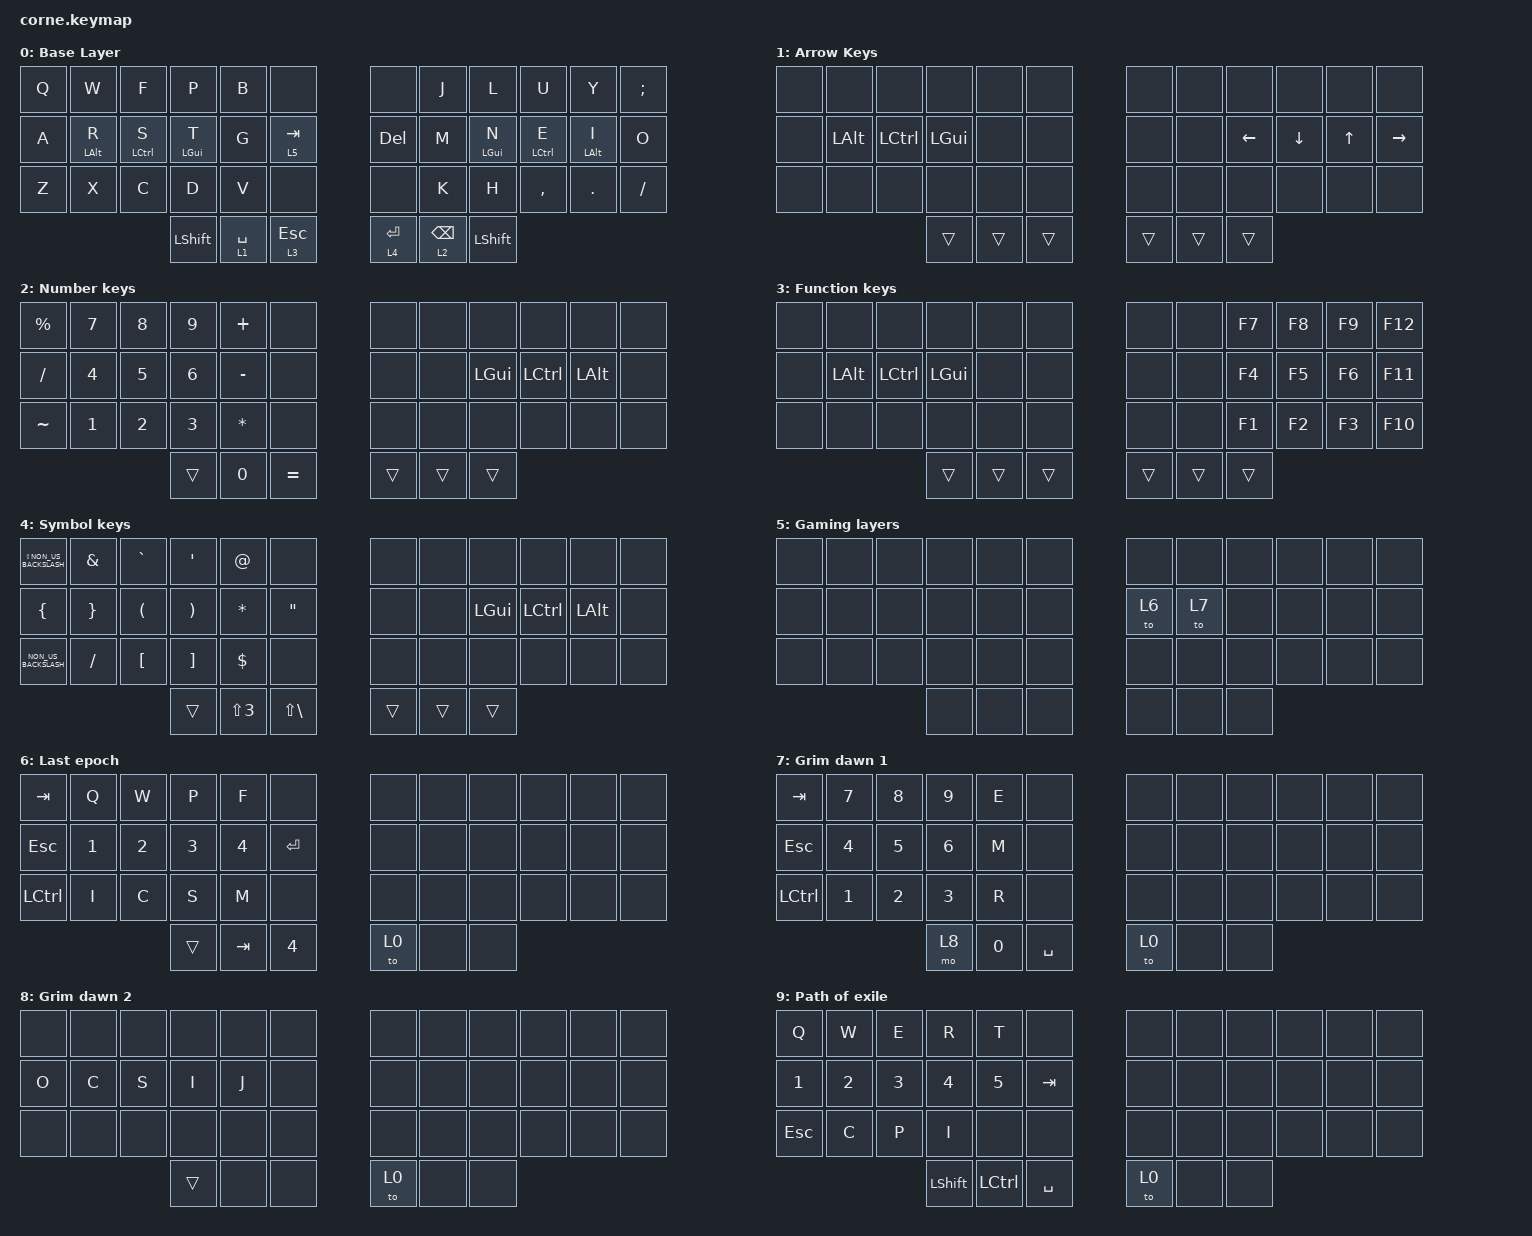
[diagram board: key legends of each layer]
/*
 * Copyright (c) 2020 The ZMK Contributors
 *
 * SPDX-License-Identifier: MIT
 */

#include <behaviors.dtsi>
#include <dt-bindings/zmk/keys.h>

&lt {
    tapping-term-ms = <200>;
};

&mt {
    tapping-term-ms = <200>;
    flavor = "tap-preferred";
};

/ {
    combos {
        compatible = "zmk,combos";
    };

    keymap {
        compatible = "zmk,keymap";

        base {
            // -----------------------------------------------------------------------------------------
            // |  TAB |  Q  |  W  |  E  |  R  |  T  |   |  Y  |  U   |  I  |  O  |  P  | BKSP |
            // | CTRL |  A  |  S  |  D  |  F  |  G  |   |  H  |  J   |  K  |  L  |  ;  |  '   |
            // | SHFT |  Z  |  X  |  C  |  V  |  B  |   |  N  |  M   |  ,  |  .  |  /  | ESC  |
            //                    | GUI | LWR | SPC |   | ENT | RSE  | ALT |

            bindings = <
&kp Q  &kp W           &kp F        &kp P           &kp B        &none           &none         &kp J            &kp L           &kp U        &kp Y           &kp SEMICOLON
&kp A  &mt LEFT_ALT R  &mt LCTRL S  &mt LGUI T      &kp G        &lt 5 TAB       &kp DELETE    &kp M            &mt LGUI N      &mt LCTRL E  &mt LEFT_ALT I  &kp O
&kp Z  &kp X           &kp C        &kp D           &kp V        &none           &none         &kp K            &kp H           &kp COMMA    &kp PERIOD      &kp SLASH
                                    &kp LEFT_SHIFT  &lt 1 SPACE  &lt 3 ESCAPE    &lt 4 RETURN  &lt 2 BACKSPACE  &kp LEFT_SHIFT
            >;

            label = "Base Layer";
        };

        arrows {
            // -----------------------------------------------------------------------------------------
            // |  TAB |  1  |  2  |  3  |  4  |  5  |   |  6  |  7  |  8  |  9  |  0  | BKSP |
            // | BTCLR| BT1 | BT2 | BT3 | BT4 | BT5 |   | LFT | DWN |  UP | RGT |     |      |
            // | SHFT |     |     |     |     |     |   |     |     |     |     |     |      |
            //                    | GUI |     | SPC |   | ENT |     | ALT |

            bindings = <
&none  &none         &none      &none     &none   &none     &none   &none   &none     &none     &none         &none
&none  &kp LEFT_ALT  &kp LCTRL  &kp LGUI  &none   &none     &none   &none   &kp LEFT  &kp DOWN  &kp UP_ARROW  &kp RIGHT
&none  &none         &none      &none     &none   &none     &none   &none   &none     &none     &none         &none
                                &trans    &trans  &trans    &trans  &trans  &trans
            >;

            label = "Arrow Keys";
        };

        num_keys {
            // -----------------------------------------------------------------------------------------
            // |  TAB |  !  |  @  |  #  |  $  |  %  |   |  ^  |  &  |  *  |  (  |  )  | BKSP |
            // | CTRL |     |     |     |     |     |   |  -  |  =  |  [  |  ]  |  \  |  `   |
            // | SHFT |     |     |     |     |     |   |  _  |  +  |  {  |  }  | "|" |  ~   |
            //                    | GUI |     | SPC |   | ENT |     | ALT |

            bindings = <
&kp PERCENT  &kp N7        &kp N8        &kp N9        &kp PLUS      &none        &none   &none   &none     &none      &none     &none
&kp SLASH    &kp NUMBER_4  &kp N5        &kp NUMBER_6  &kp MINUS     &none        &none   &none   &kp LGUI  &kp LCTRL  &kp LALT  &none
&kp TILDE    &kp NUMBER_1  &kp NUMBER_2  &kp NUMBER_3  &kp ASTERISK  &none        &none   &none   &none     &none      &none     &none
                                         &trans        &kp N0        &kp EQUAL    &trans  &trans  &trans
            >;

            label = "Number keys";
        };

        fn_keys {
            bindings = <
&none  &none     &none      &none     &none   &none     &none   &none   &kp F7  &kp F8  &kp F9  &kp F12
&none  &kp LALT  &kp LCTRL  &kp LGUI  &none   &none     &none   &none   &kp F4  &kp F5  &kp F6  &kp F11
&none  &none     &none      &none     &none   &none     &none   &none   &kp F1  &kp F2  &kp F3  &kp F10
                            &trans    &trans  &trans    &trans  &trans  &trans
            >;

            label = "Function keys";
        };

        symbol_keys {
            bindings = <
&kp LS(NON_US_BACKSLASH)  &kp AMPERSAND    &kp GRAVE             &kp SQT                &kp AT            &none                &none   &none   &none     &none      &none         &none
&kp LEFT_BRACE            &kp RIGHT_BRACE  &kp LEFT_PARENTHESIS  &kp RIGHT_PARENTHESIS  &kp ASTERISK      &kp DOUBLE_QUOTES    &none   &none   &kp LGUI  &kp LCTRL  &kp LEFT_ALT  &none
&kp NON_US_BACKSLASH      &kp SLASH        &kp LEFT_BRACKET      &kp RIGHT_BRACKET      &kp DOLLAR        &none                &none   &none   &none     &none      &none         &none
                                                                 &trans                 &kp LS(NUMBER_3)  &kp LS(BACKSLASH)    &trans  &trans  &trans
            >;

            label = "Symbol keys";
        };

        gaming_layers {
            bindings = <
&none  &none  &none  &none  &none  &none    &none  &none  &none  &none  &none  &none
&none  &none  &none  &none  &none  &none    &to 6  &to 7  &none  &none  &none  &none
&none  &none  &none  &none  &none  &none    &none  &none  &none  &none  &none  &none
                     &none  &none  &none    &none  &none  &none
            >;

            label = "Gaming layers";
        };

        last_epoch {
            bindings = <
&kp TAB     &kp Q         &kp W         &kp P         &kp F         &none           &none  &none  &none  &none  &none  &none
&kp ESCAPE  &kp NUMBER_1  &kp NUMBER_2  &kp NUMBER_3  &kp NUMBER_4  &kp RETURN      &none  &none  &none  &none  &none  &none
&kp LCTRL   &kp I         &kp C         &kp S         &kp M         &none           &none  &none  &none  &none  &none  &none
                                        &trans        &kp TAB       &kp NUMBER_4    &to 0  &none  &none
            >;

            label = "Last epoch";
        };

        grim_dawn_1 {
            bindings = <
&kp TAB     &kp N7        &kp N8        &kp N9        &kp E   &none        &none  &none  &none  &none  &none  &none
&kp ESCAPE  &kp NUMBER_4  &kp N5        &kp NUMBER_6  &kp M   &none        &none  &none  &none  &none  &none  &none
&kp LCTRL   &kp NUMBER_1  &kp NUMBER_2  &kp NUMBER_3  &kp R   &none        &none  &none  &none  &none  &none  &none
                                        &mo 8         &kp N0  &kp SPACE    &to 0  &none  &none
            >;

            label = "Grim dawn 1";
        };

        grim_dawn_2 {
            bindings = <
&none  &none  &none  &none   &none  &none    &none  &none  &none  &none  &none  &none
&kp O  &kp C  &kp S  &kp I   &kp J  &none    &none  &none  &none  &none  &none  &none
&none  &none  &none  &none   &none  &none    &none  &none  &none  &none  &none  &none
                     &trans  &none  &none    &to 0  &none  &none
            >;

            label = "Grim dawn 2";
        };

        poe {
            bindings = <
&kp Q         &kp W         &kp E         &kp R           &kp T      &none        &none  &none  &none  &none  &none  &none
&kp NUMBER_1  &kp NUMBER_2  &kp NUMBER_3  &kp NUMBER_4    &kp N5     &kp TAB      &none  &none  &none  &none  &none  &none
&kp ESCAPE    &kp C         &kp P         &kp I           &none      &none        &none  &none  &none  &none  &none  &none
                                          &kp LEFT_SHIFT  &kp LCTRL  &kp SPACE    &to 0  &none  &none
            >;

            label = "Path of exile";
        };
    };
};
